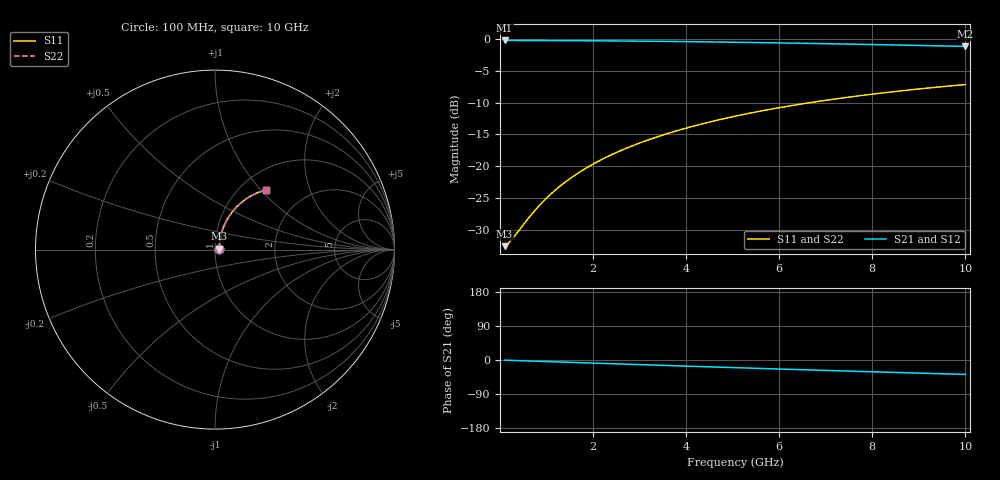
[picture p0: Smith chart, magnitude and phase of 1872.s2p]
# Hz S RI R 50.00
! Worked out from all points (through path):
!   100 points, 100 MHz to 10 GHz, reference 50 ohm
!   highest |S21| = -0.20 dB at 100 MHz (marker M1); lowest = -1.1 dB at 10 GHz (marker M2)
!   group delay of S21, straight-line fit = 10.6 ps
!   lowest |S11| = -32.6 dB at 100 MHz (marker M3), VSWR 1.05, Z = 52.3 + j0.515 ohm
!   |S11| at or under -10 dB: start of sweep to 6.663 GHz
!   |S22| runs from -32.6 to -7.1 dB; largest |S21 - S12| = 0
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1e8  0.0229 0.00492  0.9771 -0.00696  0.9771 -0.00696  0.0229 0.00492
2e8  0.0231 0.00984  0.9769 -0.0139  0.9769 -0.0139  0.0231 0.00984
3e8  0.0234 0.0147  0.9766 -0.0209  0.9766 -0.0209  0.0234 0.0147
7e8  0.0251 0.0343  0.9748 -0.0486  0.9748 -0.0486  0.0251 0.0343
8e8  0.0257 0.0392  0.9742 -0.0556  0.9742 -0.0556  0.0257 0.0392
1e9  0.027 0.0489  0.9727 -0.0694  0.9727 -0.0694  0.027 0.0489
1.2e9  0.0286 0.0586  0.971 -0.0831  0.971 -0.0831  0.0286 0.0586
1.4e9  0.0305 0.0682  0.969 -0.0968  0.969 -0.0968  0.0305 0.0682
1.6e9  0.0327 0.0777  0.9668 -0.1104  0.9668 -0.1104  0.0327 0.0777
1.8e9  0.0351 0.0872  0.9642 -0.124  0.9642 -0.124  0.0351 0.0872
2.1e9  0.0392 0.1012  0.9599 -0.1441  0.9599 -0.1441  0.0392 0.1012
2.5e9  0.0455 0.1195  0.9532 -0.1706  0.9532 -0.1706  0.0455 0.1195
2.9e9  0.0528 0.1374  0.9454 -0.1967  0.9454 -0.1967  0.0528 0.1374
3.4e9  0.0632 0.1589  0.9343 -0.2285  0.9343 -0.2285  0.0632 0.1589
3.8e9  0.0726 0.1755  0.9243 -0.2533  0.9243 -0.2533  0.0726 0.1755
4.2e9  0.0827 0.1914  0.9134 -0.2775  0.9134 -0.2775  0.0827 0.1914
5.1e9  0.1083 0.2246  0.886 -0.3292  0.886 -0.3292  0.1083 0.2246
5.9e9  0.1338 0.2508  0.8586 -0.372  0.8586 -0.372  0.1338 0.2508
6.7e9  0.1613 0.2738  0.8289 -0.4116  0.8289 -0.4116  0.1613 0.2738
7.5e9  0.1904 0.2933  0.7973 -0.4478  0.7973 -0.4478  0.1904 0.2933
8.4e9  0.2245 0.3112  0.7601 -0.4846  0.7601 -0.4846  0.2245 0.3112
1e10  0.2865 0.3327  0.6914 -0.5399  0.6914 -0.5399  0.2865 0.3327
